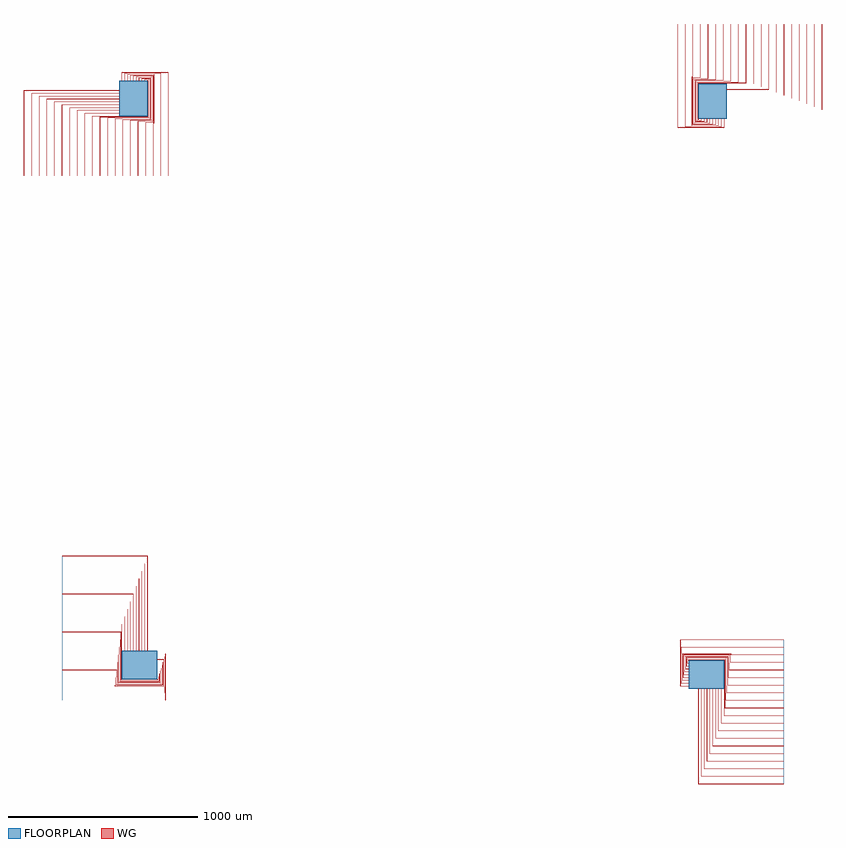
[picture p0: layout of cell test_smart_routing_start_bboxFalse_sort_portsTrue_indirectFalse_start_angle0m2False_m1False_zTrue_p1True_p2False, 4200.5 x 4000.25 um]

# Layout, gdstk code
import gdstk
lib = gdstk.Library(unit=1e-6, precision=1e-09)
def R(c, l, rs):  # rectangles x0, y0, x1, y1
    for r in rs: c.add(gdstk.rectangle(r[:2], r[2:], *l))
def P(c, l, *ps):  # polygons
    for p in ps: c.add(gdstk.Polygon(p, *l))
WG = (1, 0)
FLOORPLAN = (10, 0)

test_smart_routing_start = lib.new_cell('test_smart_routing_start_bboxFalse_sort_portsTrue_indirectFalse_start_angle0m2False_m1False_zTrue_p1True_p2False')
P(test_smart_routing_start, WG, [(3100,2950.05),(3100,2950.25),(3599.75,2950.25),(3599.75,3400),(3599.95,3400),(3599.95,2950.05)],
  [(3100,2949.75),(3100,2949.95),(3600.05,2949.95),(3600.05,3400),(3600.25,3400),(3600.25,2949.75)],
  [(3100,2965.05),(3100,2965.25),(3559.75,2965.25),(3559.75,3400),(3559.95,3400),(3559.95,2965.05)],
  [(3100,2964.75),(3100,2964.95),(3560.05,2964.95),(3560.05,3400),(3560.25,3400),(3560.25,2964.75)],
  [(3100,2980.05),(3100,2980.25),(3519.75,2980.25),(3519.75,3400),(3519.95,3400),(3519.95,2980.05)],
  [(3100,2979.75),(3100,2979.95),(3520.05,2979.95),(3520.05,3400),(3520.25,3400),(3520.25,2979.75)],
  [(3100,2995.05),(3100,2995.25),(3479.75,2995.25),(3479.75,3400),(3479.95,3400),(3479.95,2995.05)],
  [(3100,2994.75),(3100,2994.95),(3480.05,2994.95),(3480.05,3400),(3480.25,3400),(3480.25,2994.75)],
  [(3100,3010.05),(3100,3010.25),(3439.75,3010.25),(3439.75,3400),(3439.95,3400),(3439.95,3010.05)],
  [(3100,3009.75),(3100,3009.95),(3440.05,3009.95),(3440.05,3400),(3440.25,3400),(3440.25,3009.75)],
  [(3100,3025.05),(3100,3025.25),(3399.75,3025.25),(3399.75,3400),(3399.95,3400),(3399.95,3025.05)],
  [(3100,3024.75),(3100,3024.95),(3400.05,3024.95),(3400.05,3400),(3400.25,3400),(3400.25,3024.75)],
  [(3100,3040.05),(3100,3040.25),(3359.75,3040.25),(3359.75,3400),(3359.95,3400),(3359.95,3040.05)],
  [(3100,3039.75),(3100,3039.95),(3360.05,3039.95),(3360.05,3400),(3360.25,3400),(3360.25,3039.75)],
  [(3100,3055.05),(3100,3055.25),(3319.75,3055.25),(3319.75,3400),(3319.95,3400),(3319.95,3055.05)],
  [(3100,3054.75),(3100,3054.95),(3320.05,3054.95),(3320.05,3400),(3320.25,3400),(3320.25,3054.75)],
  [(3100,3070.05),(3100,3070.25),(3279.75,3070.25),(3279.75,3400),(3279.95,3400),(3279.95,3070.05)],
  [(3100,3069.75),(3100,3069.95),(3280.05,3069.95),(3280.05,3400),(3280.25,3400),(3280.25,3069.75)],
  [(3100,3085.05),(3100,3085.25),(3239.75,3085.25),(3239.75,3400),(3239.95,3400),(3239.95,3085.05)],
  [(3100,3084.75),(3100,3084.95),(3240.05,3084.95),(3240.05,3400),(3240.25,3400),(3240.25,3084.75)],
  [(2945.25,2895.5),(2945.25,3089.75),(3199.75,3089.75),(3199.75,3400),(3199.95,3400),(3199.95,3089.55),(2945.45,3089.55),(2945.45,2895.7),(2950.05,2895.7),(2950.05,2900),(2950.25,2900),(2950.25,2895.5)],
  [(2945.55,2895.8),(2945.55,3089.45),(3200.05,3089.45),(3200.05,3400),(3200.25,3400),(3200.25,3089.25),(2945.75,3089.25),(2945.75,2896),(2949.75,2896),(2949.75,2900),(2949.95,2900),(2949.95,2895.8)],
  [(2940.75,2891),(2940.75,3094.25),(3159.75,3094.25),(3159.75,3400),(3159.95,3400),(3159.95,3094.05),(2940.95,3094.05),(2940.95,2891.2),(2965.05,2891.2),(2965.05,2900),(2965.25,2900),(2965.25,2891)],
  [(2941.05,2891.3),(2941.05,3093.95),(3160.05,3093.95),(3160.05,3400),(3160.25,3400),(3160.25,3093.75),(2941.25,3093.75),(2941.25,2891.5),(2964.75,2891.5),(2964.75,2900),(2964.95,2900),(2964.95,2891.3)],
  [(2936.25,2886.5),(2936.25,3098.75),(3119.75,3098.75),(3119.75,3400),(3119.95,3400),(3119.95,3098.55),(2936.45,3098.55),(2936.45,2886.7),(2980.05,2886.7),(2980.05,2900),(2980.25,2900),(2980.25,2886.5)],
  [(2936.55,2886.8),(2936.55,3098.45),(3120.05,3098.45),(3120.05,3400),(3120.25,3400),(3120.25,3098.25),(2936.75,3098.25),(2936.75,2887),(2979.75,2887),(2979.75,2900),(2979.95,2900),(2979.95,2886.8)],
  [(2931.75,2882),(2931.75,3103.25),(3079.75,3103.25),(3079.75,3400),(3079.95,3400),(3079.95,3103.05),(2931.95,3103.05),(2931.95,2882.2),(2995.05,2882.2),(2995.05,2900),(2995.25,2900),(2995.25,2882)],
  [(2932.05,2882.3),(2932.05,3102.95),(3080.05,3102.95),(3080.05,3400),(3080.25,3400),(3080.25,3102.75),(2932.25,3102.75),(2932.25,2882.5),(2994.75,2882.5),(2994.75,2900),(2994.95,2900),(2994.95,2882.3)],
  [(2927.25,2877.5),(2927.25,3107.75),(3039.75,3107.75),(3039.75,3400),(3039.95,3400),(3039.95,3107.55),(2927.45,3107.55),(2927.45,2877.7),(3010.05,2877.7),(3010.05,2900),(3010.25,2900),(3010.25,2877.5)],
  [(2927.55,2877.8),(2927.55,3107.45),(3040.05,3107.45),(3040.05,3400),(3040.25,3400),(3040.25,3107.25),(2927.75,3107.25),(2927.75,2878),(3009.75,2878),(3009.75,2900),(3009.95,2900),(3009.95,2877.8)],
  [(2922.75,2873),(2922.75,3112.25),(2999.75,3112.25),(2999.75,3400),(2999.95,3400),(2999.95,3112.05),(2922.95,3112.05),(2922.95,2873.2),(3025.05,2873.2),(3025.05,2900),(3025.25,2900),(3025.25,2873)],
  [(2923.05,2873.3),(2923.05,3111.95),(3000.05,3111.95),(3000.05,3400),(3000.25,3400),(3000.25,3111.75),(2923.25,3111.75),(2923.25,2873.5),(3024.75,2873.5),(3024.75,2900),(3024.95,2900),(3024.95,2873.3)],
  [(2918.25,2868.5),(2918.25,3116.75),(2959.75,3116.75),(2959.75,3400),(2959.95,3400),(2959.95,3116.55),(2918.45,3116.55),(2918.45,2868.7),(3040.05,2868.7),(3040.05,2900),(3040.25,2900),(3040.25,2868.5)],
  [(2918.55,2868.8),(2918.55,3116.45),(2960.05,3116.45),(2960.05,3400),(2960.25,3400),(2960.25,3116.25),(2918.75,3116.25),(2918.75,2869),(3039.75,2869),(3039.75,2900),(3039.95,2900),(3039.95,2868.8)],
  [(2913.75,2864),(2913.75,3121.25),(2919.75,3121.25),(2919.75,3400),(2919.95,3400),(2919.95,3121.05),(2913.95,3121.05),(2913.95,2864.2),(3055.05,2864.2),(3055.05,2900),(3055.25,2900),(3055.25,2864)],
  [(2914.05,2864.3),(2914.05,3120.95),(2920.05,3120.95),(2920.05,3400),(2920.25,3400),(2920.25,3120.75),(2914.25,3120.75),(2914.25,2864.5),(3054.75,2864.5),(3054.75,2900),(3054.95,2900),(3054.95,2864.3)],
  [(2879.75,2859.5),(2879.75,3400),(2879.95,3400),(2879.95,2859.7),(3070.05,2859.7),(3070.05,2900),(3070.25,2900),(3070.25,2859.5)],
  [(2880.05,2859.8),(2880.05,3400),(2880.25,3400),(2880.25,2860),(3069.75,2860),(3069.75,2900),(3069.95,2900),(3069.95,2859.8)],
  [(2839.75,2855),(2839.75,3400),(2839.95,3400),(2839.95,2855.2),(3085.05,2855.2),(3085.05,2900),(3085.25,2900),(3085.25,2855)],
  [(2840.05,2855.3),(2840.05,3400),(2840.25,3400),(2840.25,2855.5),(3084.75,2855.5),(3084.75,2900),(3084.95,2900),(3084.95,2855.3)],
  [(-599.95,2600),(-599.95,3049.95),(-100,3049.95),(-100,3049.75),(-599.75,3049.75),(-599.75,2600)],
  [(-600.25,2600),(-600.25,3050.25),(-100,3050.25),(-100,3050.05),(-600.05,3050.05),(-600.05,2600)],
  [(-559.95,2600),(-559.95,3034.95),(-100,3034.95),(-100,3034.75),(-559.75,3034.75),(-559.75,2600)],
  [(-560.25,2600),(-560.25,3035.25),(-100,3035.25),(-100,3035.05),(-560.05,3035.05),(-560.05,2600)],
  [(-519.95,2600),(-519.95,3019.95),(-100,3019.95),(-100,3019.75),(-519.75,3019.75),(-519.75,2600)],
  [(-520.25,2600),(-520.25,3020.25),(-100,3020.25),(-100,3020.05),(-520.05,3020.05),(-520.05,2600)],
  [(-479.95,2600),(-479.95,3004.95),(-100,3004.95),(-100,3004.75),(-479.75,3004.75),(-479.75,2600)],
  [(-480.25,2600),(-480.25,3005.25),(-100,3005.25),(-100,3005.05),(-480.05,3005.05),(-480.05,2600)],
  [(-439.95,2600),(-439.95,2989.95),(-100,2989.95),(-100,2989.75),(-439.75,2989.75),(-439.75,2600)],
  [(-440.25,2600),(-440.25,2990.25),(-100,2990.25),(-100,2990.05),(-440.05,2990.05),(-440.05,2600)],
  [(-399.95,2600),(-399.95,2974.95),(-100,2974.95),(-100,2974.75),(-399.75,2974.75),(-399.75,2600)],
  [(-400.25,2600),(-400.25,2975.25),(-100,2975.25),(-100,2975.05),(-400.05,2975.05),(-400.05,2600)],
  [(-359.95,2600),(-359.95,2959.95),(-100,2959.95),(-100,2959.75),(-359.75,2959.75),(-359.75,2600)],
  [(-360.25,2600),(-360.25,2960.25),(-100,2960.25),(-100,2960.05),(-360.05,2960.05),(-360.05,2600)],
  [(-319.95,2600),(-319.95,2944.95),(-100,2944.95),(-100,2944.75),(-319.75,2944.75),(-319.75,2600)],
  [(-320.25,2600),(-320.25,2945.25),(-100,2945.25),(-100,2945.05),(-320.05,2945.05),(-320.05,2600)],
  [(-279.95,2600),(-279.95,2929.95),(-100,2929.95),(-100,2929.75),(-279.75,2929.75),(-279.75,2600)],
  [(-280.25,2600),(-280.25,2930.25),(-100,2930.25),(-100,2930.05),(-280.05,2930.05),(-280.05,2600)],
  [(-239.95,2600),(-239.95,2914.95),(-100,2914.95),(-100,2914.75),(-239.75,2914.75),(-239.75,2600)],
  [(-240.25,2600),(-240.25,2915.25),(-100,2915.25),(-100,2915.05),(-240.05,2915.05),(-240.05,2600)],
  [(-200.25,2600),(-200.25,2910.75),(54.25,2910.75),(54.25,3104),(50.25,3104),(50.25,3100),(50.05,3100),(50.05,3104.2),(54.45,3104.2),(54.45,2910.55),(-200.05,2910.55),(-200.05,2600)],
  [(-199.95,2600),(-199.95,2910.45),(54.55,2910.45),(54.55,3104.3),(49.95,3104.3),(49.95,3100),(49.75,3100),(49.75,3104.5),(54.75,3104.5),(54.75,2910.25),(-199.75,2910.25),(-199.75,2600)],
  [(-160.25,2600),(-160.25,2906.25),(58.75,2906.25),(58.75,3108.5),(35.25,3108.5),(35.25,3100),(35.05,3100),(35.05,3108.7),(58.95,3108.7),(58.95,2906.05),(-160.05,2906.05),(-160.05,2600)],
  [(-159.95,2600),(-159.95,2905.95),(59.05,2905.95),(59.05,3108.8),(34.95,3108.8),(34.95,3100),(34.75,3100),(34.75,3109),(59.25,3109),(59.25,2905.75),(-159.75,2905.75),(-159.75,2600)],
  [(-120.25,2600),(-120.25,2901.75),(63.25,2901.75),(63.25,3113),(20.25,3113),(20.25,3100),(20.05,3100),(20.05,3113.2),(63.45,3113.2),(63.45,2901.55),(-120.05,2901.55),(-120.05,2600)],
  [(-119.95,2600),(-119.95,2901.45),(63.55,2901.45),(63.55,3113.3),(19.95,3113.3),(19.95,3100),(19.75,3100),(19.75,3113.5),(63.75,3113.5),(63.75,2901.25),(-119.75,2901.25),(-119.75,2600)],
  [(-80.25,2600),(-80.25,2897.25),(67.75,2897.25),(67.75,3117.5),(5.25,3117.5),(5.25,3100),(5.05,3100),(5.05,3117.7),(67.95,3117.7),(67.95,2897.05),(-80.05,2897.05),(-80.05,2600)],
  [(-79.95,2600),(-79.95,2896.95),(68.05,2896.95),(68.05,3117.8),(4.95,3117.8),(4.95,3100),(4.75,3100),(4.75,3118),(68.25,3118),(68.25,2896.75),(-79.75,2896.75),(-79.75,2600)],
  [(-40.25,2600),(-40.25,2892.75),(72.25,2892.75),(72.25,3122),(-9.75,3122),(-9.75,3100),(-9.95,3100),(-9.95,3122.2),(72.45,3122.2),(72.45,2892.55),(-40.05,2892.55),(-40.05,2600)],
  [(-39.95,2600),(-39.95,2892.45),(72.55,2892.45),(72.55,3122.3),(-10.05,3122.3),(-10.05,3100),(-10.25,3100),(-10.25,3122.5),(72.75,3122.5),(72.75,2892.25),(-39.75,2892.25),(-39.75,2600)],
  [(-0.25,2600),(-0.25,2888.25),(76.75,2888.25),(76.75,3126.5),(-24.75,3126.5),(-24.75,3100),(-24.95,3100),(-24.95,3126.7),(76.95,3126.7),(76.95,2888.05),(-0.05,2888.05),(-0.05,2600)],
  [(0.05,2600),(0.05,2887.95),(77.05,2887.95),(77.05,3126.8),(-25.05,3126.8),(-25.05,3100),(-25.25,3100),(-25.25,3127),(77.25,3127),(77.25,2887.75),(0.25,2887.75),(0.25,2600)],
  [(39.75,2600),(39.75,2883.75),(81.25,2883.75),(81.25,3131),(-39.75,3131),(-39.75,3100),(-39.95,3100),(-39.95,3131.2),(81.45,3131.2),(81.45,2883.55),(39.95,2883.55),(39.95,2600)],
  [(40.05,2600),(40.05,2883.45),(81.55,2883.45),(81.55,3131.3),(-40.05,3131.3),(-40.05,3100),(-40.25,3100),(-40.25,3131.5),(81.75,3131.5),(81.75,2883.25),(40.25,2883.25),(40.25,2600)],
  [(79.75,2600),(79.75,2879.25),(85.75,2879.25),(85.75,3135.5),(-54.75,3135.5),(-54.75,3100),(-54.95,3100),(-54.95,3135.7),(85.95,3135.7),(85.95,2879.05),(79.95,2879.05),(79.95,2600)],
  [(80.05,2600),(80.05,2878.95),(86.05,2878.95),(86.05,3135.8),(-55.05,3135.8),(-55.05,3100),(-55.25,3100),(-55.25,3136),(86.25,3136),(86.25,2878.75),(80.25,2878.75),(80.25,2600)],
  [(119.75,2600),(119.75,3140),(-69.75,3140),(-69.75,3100),(-69.95,3100),(-69.95,3140.2),(119.95,3140.2),(119.95,2600)],
  [(120.05,2600),(120.05,3140.3),(-70.05,3140.3),(-70.05,3100),(-70.25,3100),(-70.25,3140.5),(120.25,3140.5),(120.25,2600)],
  [(159.75,2600),(159.75,3144.5),(-84.75,3144.5),(-84.75,3100),(-84.95,3100),(-84.95,3144.7),(159.95,3144.7),(159.95,2600)],
  [(160.05,2600),(160.05,3144.8),(-85.05,3144.8),(-85.05,3100),(-85.25,3100),(-85.25,3145),(160.25,3145),(160.25,2600)],
  [(49.75,100),(49.75,599.75),(-400,599.75),(-400,599.95),(49.95,599.95),(49.95,100)],
  [(50.05,100),(50.05,600.05),(-400,600.05),(-400,600.25),(50.25,600.25),(50.25,100)],
  [(34.75,100),(34.75,559.75),(-400,559.75),(-400,559.95),(34.95,559.95),(34.95,100)],
  [(35.05,100),(35.05,560.05),(-400,560.05),(-400,560.25),(35.25,560.25),(35.25,100)],
  [(19.75,100),(19.75,519.75),(-400,519.75),(-400,519.95),(19.95,519.95),(19.95,100)],
  [(20.05,100),(20.05,520.05),(-400,520.05),(-400,520.25),(20.25,520.25),(20.25,100)],
  [(4.75,100),(4.75,479.75),(-400,479.75),(-400,479.95),(4.95,479.95),(4.95,100)],
  [(5.05,100),(5.05,480.05),(-400,480.05),(-400,480.25),(5.25,480.25),(5.25,100)],
  [(-10.25,100),(-10.25,439.75),(-400,439.75),(-400,439.95),(-10.05,439.95),(-10.05,100)],
  [(-9.95,100),(-9.95,440.05),(-400,440.05),(-400,440.25),(-9.75,440.25),(-9.75,100)],
  [(-25.25,100),(-25.25,399.75),(-400,399.75),(-400,399.95),(-25.05,399.95),(-25.05,100)],
  [(-24.95,100),(-24.95,400.05),(-400,400.05),(-400,400.25),(-24.75,400.25),(-24.75,100)],
  [(-40.25,100),(-40.25,359.75),(-400,359.75),(-400,359.95),(-40.05,359.95),(-40.05,100)],
  [(-39.95,100),(-39.95,360.05),(-400,360.05),(-400,360.25),(-39.75,360.25),(-39.75,100)],
  [(-55.25,100),(-55.25,319.75),(-400,319.75),(-400,319.95),(-55.05,319.95),(-55.05,100)],
  [(-54.95,100),(-54.95,320.05),(-400,320.05),(-400,320.25),(-54.75,320.25),(-54.75,100)],
  [(-70.25,100),(-70.25,279.75),(-400,279.75),(-400,279.95),(-70.05,279.95),(-70.05,100)],
  [(-69.95,100),(-69.95,280.05),(-400,280.05),(-400,280.25),(-69.75,280.25),(-69.75,100)],
  [(-85.25,100),(-85.25,239.75),(-400,239.75),(-400,239.95),(-85.05,239.95),(-85.05,100)],
  [(-84.95,100),(-84.95,240.05),(-400,240.05),(-400,240.25),(-84.75,240.25),(-84.75,100)],
  [(-89.75,-54.75),(-89.75,199.75),(-400,199.75),(-400,199.95),(-89.55,199.95),(-89.55,-54.55),(104.3,-54.55),(104.3,-49.95),(100,-49.95),(100,-49.75),(104.5,-49.75),(104.5,-54.75)],
  [(-89.45,-54.45),(-89.45,200.05),(-400,200.05),(-400,200.25),(-89.25,200.25),(-89.25,-54.25),(104,-54.25),(104,-50.25),(100,-50.25),(100,-50.05),(104.2,-50.05),(104.2,-54.45)],
  [(-94.25,-59.25),(-94.25,159.75),(-400,159.75),(-400,159.95),(-94.05,159.95),(-94.05,-59.05),(108.8,-59.05),(108.8,-34.95),(100,-34.95),(100,-34.75),(109,-34.75),(109,-59.25)],
  [(-93.95,-58.95),(-93.95,160.05),(-400,160.05),(-400,160.25),(-93.75,160.25),(-93.75,-58.75),(108.5,-58.75),(108.5,-35.25),(100,-35.25),(100,-35.05),(108.7,-35.05),(108.7,-58.95)],
  [(-98.75,-63.75),(-98.75,119.75),(-400,119.75),(-400,119.95),(-98.55,119.95),(-98.55,-63.55),(113.3,-63.55),(113.3,-19.95),(100,-19.95),(100,-19.75),(113.5,-19.75),(113.5,-63.75)],
  [(-98.45,-63.45),(-98.45,120.05),(-400,120.05),(-400,120.25),(-98.25,120.25),(-98.25,-63.25),(113,-63.25),(113,-20.25),(100,-20.25),(100,-20.05),(113.2,-20.05),(113.2,-63.45)],
  [(-103.25,-68.25),(-103.25,79.75),(-400,79.75),(-400,79.95),(-103.05,79.95),(-103.05,-68.05),(117.8,-68.05),(117.8,-4.95),(100,-4.95),(100,-4.75),(118,-4.75),(118,-68.25)],
  [(-102.95,-67.95),(-102.95,80.05),(-400,80.05),(-400,80.25),(-102.75,80.25),(-102.75,-67.75),(117.5,-67.75),(117.5,-5.25),(100,-5.25),(100,-5.05),(117.7,-5.05),(117.7,-67.95)],
  [(-107.75,-72.75),(-107.75,39.75),(-400,39.75),(-400,39.95),(-107.55,39.95),(-107.55,-72.55),(122.3,-72.55),(122.3,10.05),(100,10.05),(100,10.25),(122.5,10.25),(122.5,-72.75)],
  [(-107.45,-72.45),(-107.45,40.05),(-400,40.05),(-400,40.25),(-107.25,40.25),(-107.25,-72.25),(122,-72.25),(122,9.75),(100,9.75),(100,9.95),(122.2,9.95),(122.2,-72.45)],
  [(-111.95,-76.95),(-111.95,0.05),(-400,0.05),(-400,0.25),(-111.75,0.25),(-111.75,-76.75),(126.5,-76.75),(126.5,24.75),(100,24.75),(100,24.95),(126.7,24.95),(126.7,-76.95)],
  [(-112.25,-77.25),(-112.25,-0.25),(-400,-0.25),(-400,-0.05),(-112.05,-0.05),(-112.05,-77.05),(126.8,-77.05),(126.8,25.05),(100,25.05),(100,25.25),(127,25.25),(127,-77.25)],
  [(-116.45,-81.45),(-116.45,-39.95),(-400,-39.95),(-400,-39.75),(-116.25,-39.75),(-116.25,-81.25),(131,-81.25),(131,39.75),(100,39.75),(100,39.95),(131.2,39.95),(131.2,-81.45)],
  [(-116.75,-81.75),(-116.75,-40.25),(-400,-40.25),(-400,-40.05),(-116.55,-40.05),(-116.55,-81.55),(131.3,-81.55),(131.3,40.05),(100,40.05),(100,40.25),(131.5,40.25),(131.5,-81.75)],
  [(-120.95,-85.95),(-120.95,-79.95),(-400,-79.95),(-400,-79.75),(-120.75,-79.75),(-120.75,-85.75),(135.5,-85.75),(135.5,54.75),(100,54.75),(100,54.95),(135.7,54.95),(135.7,-85.95)],
  [(-121.25,-86.25),(-121.25,-80.25),(-400,-80.25),(-400,-80.05),(-121.05,-80.05),(-121.05,-86.05),(135.8,-86.05),(135.8,55.05),(100,55.05),(100,55.25),(136,55.25),(136,-86.25)],
  [(-400,-119.95),(-400,-119.75),(140,-119.75),(140,69.75),(100,69.75),(100,69.95),(140.2,69.95),(140.2,-119.95)],
  [(-400,-120.25),(-400,-120.05),(140.3,-120.05),(140.3,70.05),(100,70.05),(100,70.25),(140.5,70.25),(140.5,-120.25)],
  [(-400,-159.95),(-400,-159.75),(144.5,-159.75),(144.5,84.75),(100,84.75),(100,84.95),(144.7,84.95),(144.7,-159.95)],
  [(-400,-160.25),(-400,-160.05),(144.8,-160.05),(144.8,85.05),(100,85.05),(100,85.25),(145,85.25),(145,-160.25)],
  [(2949.75,-600.25),(2949.75,-100),(2949.95,-100),(2949.95,-600.05),(3400,-600.05),(3400,-600.25)],
  [(2950.05,-599.95),(2950.05,-100),(2950.25,-100),(2950.25,-599.75),(3400,-599.75),(3400,-599.95)],
  [(2964.75,-560.25),(2964.75,-100),(2964.95,-100),(2964.95,-560.05),(3400,-560.05),(3400,-560.25)],
  [(2965.05,-559.95),(2965.05,-100),(2965.25,-100),(2965.25,-559.75),(3400,-559.75),(3400,-559.95)],
  [(2979.75,-520.25),(2979.75,-100),(2979.95,-100),(2979.95,-520.05),(3400,-520.05),(3400,-520.25)],
  [(2980.05,-519.95),(2980.05,-100),(2980.25,-100),(2980.25,-519.75),(3400,-519.75),(3400,-519.95)],
  [(2994.75,-480.25),(2994.75,-100),(2994.95,-100),(2994.95,-480.05),(3400,-480.05),(3400,-480.25)],
  [(2995.05,-479.95),(2995.05,-100),(2995.25,-100),(2995.25,-479.75),(3400,-479.75),(3400,-479.95)],
  [(3009.75,-440.25),(3009.75,-100),(3009.95,-100),(3009.95,-440.05),(3400,-440.05),(3400,-440.25)],
  [(3010.05,-439.95),(3010.05,-100),(3010.25,-100),(3010.25,-439.75),(3400,-439.75),(3400,-439.95)],
  [(3024.75,-400.25),(3024.75,-100),(3024.95,-100),(3024.95,-400.05),(3400,-400.05),(3400,-400.25)],
  [(3025.05,-399.95),(3025.05,-100),(3025.25,-100),(3025.25,-399.75),(3400,-399.75),(3400,-399.95)],
  [(3039.75,-360.25),(3039.75,-100),(3039.95,-100),(3039.95,-360.05),(3400,-360.05),(3400,-360.25)],
  [(3040.05,-359.95),(3040.05,-100),(3040.25,-100),(3040.25,-359.75),(3400,-359.75),(3400,-359.95)],
  [(3054.75,-320.25),(3054.75,-100),(3054.95,-100),(3054.95,-320.05),(3400,-320.05),(3400,-320.25)],
  [(3055.05,-319.95),(3055.05,-100),(3055.25,-100),(3055.25,-319.75),(3400,-319.75),(3400,-319.95)],
  [(3069.75,-280.25),(3069.75,-100),(3069.95,-100),(3069.95,-280.05),(3400,-280.05),(3400,-280.25)],
  [(3070.05,-279.95),(3070.05,-100),(3070.25,-100),(3070.25,-279.75),(3400,-279.75),(3400,-279.95)],
  [(3084.75,-240.25),(3084.75,-100),(3084.95,-100),(3084.95,-240.05),(3400,-240.05),(3400,-240.25)],
  [(3085.05,-239.95),(3085.05,-100),(3085.25,-100),(3085.25,-239.75),(3400,-239.75),(3400,-239.95)],
  [(3089.25,-200.25),(3089.25,54.25),(2896,54.25),(2896,50.25),(2900,50.25),(2900,50.05),(2895.8,50.05),(2895.8,54.45),(3089.45,54.45),(3089.45,-200.05),(3400,-200.05),(3400,-200.25)],
  [(3089.55,-199.95),(3089.55,54.55),(2895.7,54.55),(2895.7,49.95),(2900,49.95),(2900,49.75),(2895.5,49.75),(2895.5,54.75),(3089.75,54.75),(3089.75,-199.75),(3400,-199.75),(3400,-199.95)],
  [(3093.75,-160.25),(3093.75,58.75),(2891.5,58.75),(2891.5,35.25),(2900,35.25),(2900,35.05),(2891.3,35.05),(2891.3,58.95),(3093.95,58.95),(3093.95,-160.05),(3400,-160.05),(3400,-160.25)],
  [(3094.05,-159.95),(3094.05,59.05),(2891.2,59.05),(2891.2,34.95),(2900,34.95),(2900,34.75),(2891,34.75),(2891,59.25),(3094.25,59.25),(3094.25,-159.75),(3400,-159.75),(3400,-159.95)],
  [(3098.25,-120.25),(3098.25,63.25),(2887,63.25),(2887,20.25),(2900,20.25),(2900,20.05),(2886.8,20.05),(2886.8,63.45),(3098.45,63.45),(3098.45,-120.05),(3400,-120.05),(3400,-120.25)],
  [(3098.55,-119.95),(3098.55,63.55),(2886.7,63.55),(2886.7,19.95),(2900,19.95),(2900,19.75),(2886.5,19.75),(2886.5,63.75),(3098.75,63.75),(3098.75,-119.75),(3400,-119.75),(3400,-119.95)],
  [(3102.75,-80.25),(3102.75,67.75),(2882.5,67.75),(2882.5,5.25),(2900,5.25),(2900,5.05),(2882.3,5.05),(2882.3,67.95),(3102.95,67.95),(3102.95,-80.05),(3400,-80.05),(3400,-80.25)],
  [(3103.05,-79.95),(3103.05,68.05),(2882.2,68.05),(2882.2,4.95),(2900,4.95),(2900,4.75),(2882,4.75),(2882,68.25),(3103.25,68.25),(3103.25,-79.75),(3400,-79.75),(3400,-79.95)],
  [(3107.25,-40.25),(3107.25,72.25),(2878,72.25),(2878,-9.75),(2900,-9.75),(2900,-9.95),(2877.8,-9.95),(2877.8,72.45),(3107.45,72.45),(3107.45,-40.05),(3400,-40.05),(3400,-40.25)],
  [(3107.55,-39.95),(3107.55,72.55),(2877.7,72.55),(2877.7,-10.05),(2900,-10.05),(2900,-10.25),(2877.5,-10.25),(2877.5,72.75),(3107.75,72.75),(3107.75,-39.75),(3400,-39.75),(3400,-39.95)],
  [(2873.3,-24.95),(2873.3,76.95),(3111.95,76.95),(3111.95,-0.05),(3400,-0.05),(3400,-0.25),(3111.75,-0.25),(3111.75,76.75),(2873.5,76.75),(2873.5,-24.75),(2900,-24.75),(2900,-24.95)],
  [(2873,-25.25),(2873,77.25),(3112.25,77.25),(3112.25,0.25),(3400,0.25),(3400,0.05),(3112.05,0.05),(3112.05,77.05),(2873.2,77.05),(2873.2,-25.05),(2900,-25.05),(2900,-25.25)],
  [(2868.8,-39.95),(2868.8,81.45),(3116.45,81.45),(3116.45,39.95),(3400,39.95),(3400,39.75),(3116.25,39.75),(3116.25,81.25),(2869,81.25),(2869,-39.75),(2900,-39.75),(2900,-39.95)],
  [(2868.5,-40.25),(2868.5,81.75),(3116.75,81.75),(3116.75,40.25),(3400,40.25),(3400,40.05),(3116.55,40.05),(3116.55,81.55),(2868.7,81.55),(2868.7,-40.05),(2900,-40.05),(2900,-40.25)],
  [(2864.3,-54.95),(2864.3,85.95),(3120.95,85.95),(3120.95,79.95),(3400,79.95),(3400,79.75),(3120.75,79.75),(3120.75,85.75),(2864.5,85.75),(2864.5,-54.75),(2900,-54.75),(2900,-54.95)],
  [(2864,-55.25),(2864,86.25),(3121.25,86.25),(3121.25,80.25),(3400,80.25),(3400,80.05),(3121.05,80.05),(3121.05,86.05),(2864.2,86.05),(2864.2,-55.05),(2900,-55.05),(2900,-55.25)],
  [(2859.8,-69.95),(2859.8,119.95),(3400,119.95),(3400,119.75),(2860,119.75),(2860,-69.75),(2900,-69.75),(2900,-69.95)],
  [(2859.5,-70.25),(2859.5,120.25),(3400,120.25),(3400,120.05),(2859.7,120.05),(2859.7,-70.05),(2900,-70.05),(2900,-70.25)],
  [(2855.3,-84.95),(2855.3,159.95),(3400,159.95),(3400,159.75),(2855.5,159.75),(2855.5,-84.75),(2900,-84.75),(2900,-84.95)],
  [(2855,-85.25),(2855,160.25),(3400,160.25),(3400,160.05),(2855.2,160.05),(2855.2,-85.05),(2900,-85.05),(2900,-85.25)])
R(test_smart_routing_start, FLOORPLAN, [(2900,-100,3085,50), (-85,-50,100,100), (2950,2900,3100,3085), (-100,2915,50,3100)])
P(test_smart_routing_start, FLOORPLAN, [(-400,-160),(-400,600),(-400,600),(-400,-160)],
  [(-600,2600),(-600,2600),(160,2600),(160,2600)],
  [(3400,-600),(3400,160),(3400,160),(3400,-600)],
  [(2840,3400),(2840,3400),(3600,3400),(3600,3400)])

lib.write_gds('test_smart_routing_start_bboxFalse_sort_portsTrue_indirectFalse_start_angle0m2False_m1False_zTrue_p1True_p2False.gds')
